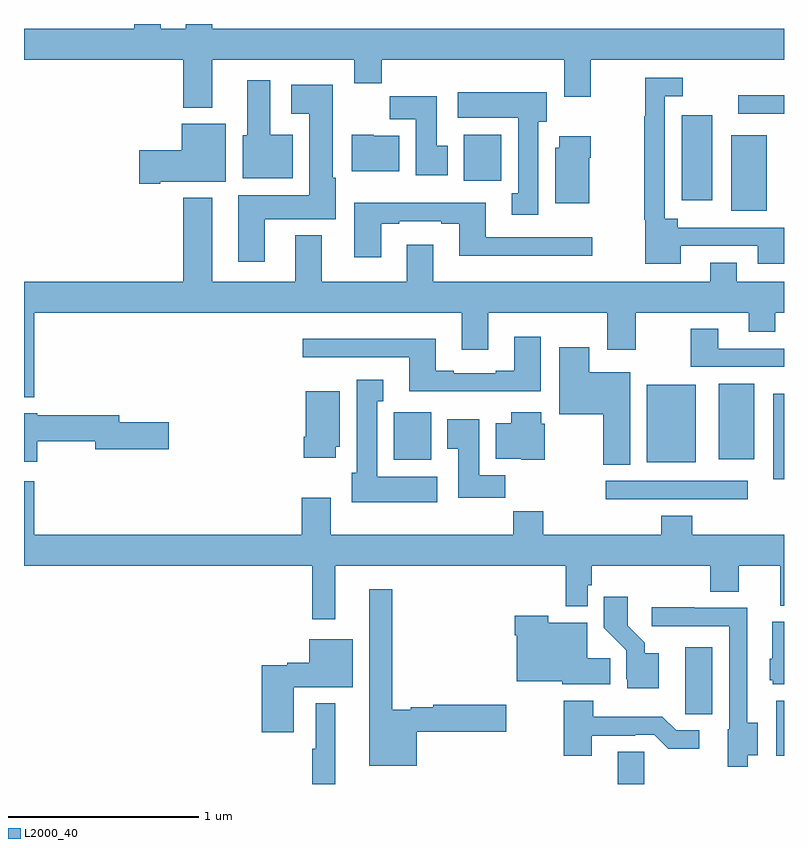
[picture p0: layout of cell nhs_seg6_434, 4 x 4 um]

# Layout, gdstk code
import gdstk
lib = gdstk.Library(unit=1e-6, precision=1e-09)
def R(c, l, rs):  # rectangles x0, y0, x1, y1
    for r in rs: c.add(gdstk.rectangle(r[:2], r[2:], *l))
def P(c, l, *ps):  # polygons
    for p in ps: c.add(gdstk.Polygon(p, *l))
L2000_40 = (2000, 40)

nhs_seg6_434 = lib.new_cell('nhs_seg6_434')
R(nhs_seg6_434, L2000_40, [(138.125,967.5,138.264,967.67), (138.959,967.65,139,967.939), (138.063,969,138.808,969.096), (138.944,969.105,139,969.553), (138.278,969.194,138.535,969.601), (136.947,969.206,137.143,969.456), (138.656,969.209,138.844,969.607), (138.722,970.517,138.91,970.915), (138.461,970.572,138.622,971.02), (137.315,970.676,137.512,970.918), (138.759,971.028,139,971.124)])
P(nhs_seg6_434, L2000_40, [(135.991,971.312),(136.739,971.312),(136.739,971.188),(136.883,971.188),(136.883,971.312),(137.843,971.312),(137.843,971.118),(137.983,971.118),(137.983,971.312),(139,971.312),(139,971.476),(135.991,971.476),(135.991,971.5),(135.851,971.5),(135.851,971.476),(135.721,971.476),(135.721,971.5),(135.581,971.5),(135.581,971.476),(135,971.476),(135,971.312),(135.839,971.312),(135.839,971.06),(135.991,971.06)],
  [(138.457,970.332),(138.863,970.332),(138.863,970.238),(139,970.238),(139,970.428),(138.442,970.428),(138.442,970.474),(138.372,970.474),(138.372,971.121),(138.466,971.121),(138.466,971.217),(138.271,971.217),(138.271,971.014),(138.264,971.014),(138.264,970.47),(138.271,970.47),(138.271,970.238),(138.457,970.238)],
  [(136.414,970.918),(136.297,970.918),(136.297,971.203),(136.175,971.203),(136.175,970.914),(136.151,970.914),(136.151,970.688),(136.414,970.688)],
  [(136.267,970.472),(136.642,970.472),(136.642,970.69),(136.624,970.69),(136.624,971.179),(136.407,971.179),(136.407,971.027),(136.502,971.027),(136.502,970.6),(136.127,970.6),(136.127,970.248),(136.267,970.248)],
  [(137.707,970.986),(137.752,970.986),(137.752,971.14),(137.283,971.14),(137.283,971.006),(137.6,971.006),(137.6,970.61),(137.567,970.61),(137.567,970.497),(137.707,970.497)],
  [(137.23,970.86),(137.173,970.86),(137.173,971.119),(136.924,971.119),(136.924,971),(137.063,971),(137.063,970.704),(137.23,970.704)],
  [(135.718,970.67),(136.063,970.67),(136.063,970.975),(135.83,970.975),(135.83,970.836),(135.606,970.836),(135.606,970.658),(135.718,970.658)],
  [(136.975,970.912),(136.842,970.912),(136.842,970.918),(136.724,970.918),(136.724,970.724),(136.975,970.724)],
  [(137.974,970.796),(137.982,970.796),(137.982,970.909),(137.816,970.909),(137.816,970.848),(137.795,970.848),(137.795,970.556),(137.974,970.556)],
  [(135.055,969.98),(137.303,969.98),(137.303,969.786),(137.443,969.786),(137.443,969.98),(138.071,969.98),(138.071,969.786),(138.219,969.786),(138.219,969.98),(138.815,969.98),(138.815,969.881),(138.955,969.881),(138.955,969.98),(139,969.98),(139,970.144),(138.751,970.144),(138.751,970.243),(138.611,970.243),(138.611,970.144),(137.155,970.144),(137.155,970.339),(137.015,970.339),(137.015,970.144),(136.567,970.144),(136.567,970.387),(136.427,970.387),(136.427,970.144),(135.991,970.144),(135.991,970.585),(135.839,970.585),(135.839,970.144),(135,970.144),(135,969.536),(135.055,969.536)],
  [(136.879,970.449),(136.975,970.449),(136.975,970.461),(137.195,970.461),(137.195,970.449),(137.291,970.449),(137.291,970.28),(137.992,970.28),(137.992,970.377),(137.431,970.377),(137.431,970.558),(136.739,970.558),(136.739,970.272),(136.879,970.272)],
  [(139,969.792),(138.655,969.792),(138.655,969.895),(138.508,969.895),(138.508,969.696),(139,969.696)],
  [(137.719,969.853),(137.579,969.853),(137.579,969.676),(137.483,969.676),(137.483,969.663),(137.263,969.663),(137.263,969.676),(137.167,969.676),(137.167,969.844),(136.467,969.844),(136.467,969.747),(137.027,969.747),(137.027,969.566),(137.719,969.566)],
  [(138.19,969.667),(137.974,969.667),(137.974,969.799),(137.816,969.799),(137.816,969.446),(138.049,969.446),(138.049,969.181),(138.19,969.181)],
  [(137.176,969.118),(136.858,969.118),(136.858,969.515),(136.891,969.515),(136.891,969.628),(136.751,969.628),(136.751,969.138),(136.724,969.138),(136.724,968.984),(137.176,968.984)],
  [(136.642,969.276),(136.663,969.276),(136.663,969.568),(136.484,969.568),(136.484,969.328),(136.472,969.328),(136.472,969.216),(136.642,969.216)],
  [(137.742,969.396),(137.722,969.396),(137.722,969.457),(137.564,969.457),(137.564,969.4),(137.483,969.4),(137.483,969.212),(137.616,969.212),(137.616,969.206),(137.742,969.206)],
  [(135.07,969.304),(135.374,969.304),(135.374,969.262),(135.763,969.262),(135.763,969.404),(135.502,969.404),(135.502,969.44),(135.07,969.44),(135.07,969.451),(135,969.451),(135,969.197),(135.07,969.197)],
  [(137.534,969.124),(137.395,969.124),(137.395,969.421),(137.228,969.421),(137.228,969.265),(137.285,969.265),(137.285,969.006),(137.534,969.006)],
  [(136.639,968.648),(137.851,968.648),(137.851,968.435),(137.967,968.435),(137.967,968.547),(137.987,968.547),(137.987,968.648),(138.611,968.648),(138.611,968.512),(138.763,968.512),(138.763,968.648),(138.98,968.648),(138.98,968.438),(139,968.438),(139,968.812),(138.518,968.812),(138.518,968.911),(138.353,968.911),(138.353,968.812),(137.732,968.812),(137.732,968.936),(137.575,968.936),(137.575,968.812),(136.615,968.812),(136.615,969.007),(136.463,969.007),(136.463,968.812),(135.055,968.812),(135.055,969.094),(135,969.094),(135,968.648),(136.518,968.648),(136.518,968.367),(136.639,968.367)],
  [(137.068,967.774),(137.539,967.774),(137.539,967.916),(137.154,967.916),(137.154,967.904),(137.036,967.904),(137.036,967.891),(136.939,967.891),(136.939,968.524),(136.817,968.524),(136.817,967.595),(137.068,967.595)],
  [(138.34,968.188),(138.268,968.188),(138.268,968.243),(138.178,968.333),(138.178,968.485),(138.052,968.485),(138.052,968.322),(138.171,968.203),(138.171,968.052),(138.176,968.052),(138.176,968.003),(138.34,968.003)],
  [(138.808,967.652),(138.862,967.652),(138.862,967.823),(138.807,967.823),(138.807,968.427),(138.527,968.427),(138.527,968.43),(138.303,968.43),(138.303,968.331),(138.711,968.331),(138.711,967.788),(138.704,967.788),(138.704,967.592),(138.808,967.592)],
  [(138.086,968.162),(137.965,968.162),(137.965,968.35),(137.76,968.35),(137.76,968.386),(137.582,968.386),(137.582,968.282),(137.594,968.282),(137.594,968.042),(137.832,968.042),(137.832,968.024),(138.086,968.024)],
  [(139,968.353),(138.938,968.353),(138.938,968.16),(138.926,968.16),(138.926,968.046),(138.942,968.046),(138.942,968.024),(139,968.024)],
  [(136.42,968.009),(136.729,968.009),(136.729,968.263),(136.502,968.263),(136.502,968.138),(136.386,968.138),(136.386,968.125),(136.25,968.125),(136.25,967.773),(136.42,967.773)],
  [(138.622,968.221),(138.479,968.221),(138.479,967.978),(138.48,967.978),(138.48,967.867),(138.622,967.867)],
  [(137.989,967.755),(138.218,967.755),(138.218,967.758),(138.318,967.758),(138.391,967.685),(138.553,967.685),(138.553,967.782),(138.432,967.782),(138.359,967.855),(137.997,967.855),(137.997,967.939),(137.842,967.939),(137.842,967.65),(137.989,967.65)],
  [(136.639,967.924),(136.535,967.924),(136.535,967.685),(136.518,967.685),(136.518,967.5),(136.639,967.5)])

lib.write_gds('nhs_seg6_434.gds')
